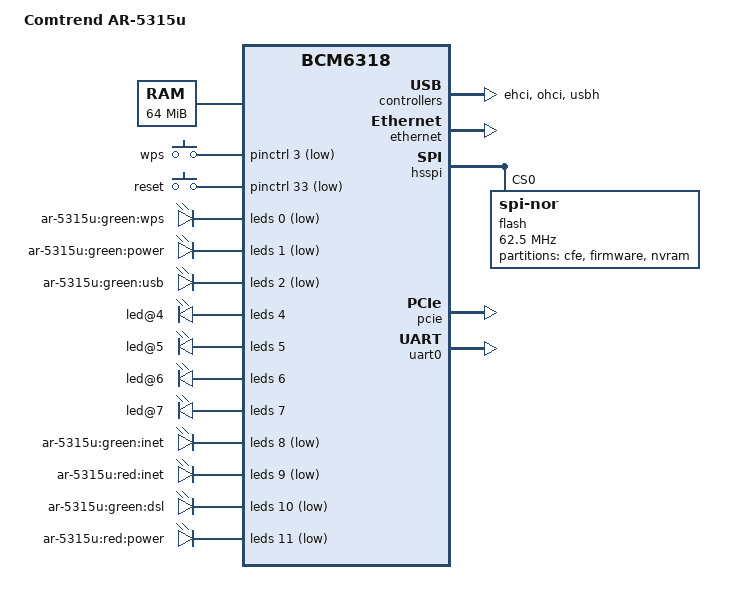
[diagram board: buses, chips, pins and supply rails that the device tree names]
// SPDX-License-Identifier: GPL-2.0-or-later

/dts-v1/;

#include "bcm6318.dtsi"

#include <dt-bindings/input/input.h>

/ {
	model = "Comtrend AR-5315u";
	compatible = "comtrend,ar-5315u", "brcm,bcm6318";

	aliases {
		led-boot = &led_power_green;
		led-failsafe = &led_power_green;
		led-running = &led_power_green;
		led-upgrade = &led_power_green;
	};

	chosen {
		bootargs = "console=ttyS0,115200 earlycon";
	};

	memory@0 {
		device_type = "memory";
		reg = <0x00000000 0x04000000>;
	};

	keys {
		compatible = "gpio-keys-polled";
		#address-cells = <1>;
		#size-cells = <0>;
		poll-interval = <20>;

		wps {
			label = "wps";
			gpios = <&pinctrl 3 1>;
			linux,code = <KEY_WPS_BUTTON>;
			debounce-interval = <60>;
		};

		reset {
			label = "reset";
			gpios = <&pinctrl 33 1>;
			linux,code = <KEY_RESTART>;
			debounce-interval = <60>;
		};
	};

	bcm43217-sprom {
		compatible = "brcm,bcm43217-sprom";

		pci-bus = <1>;
		pci-dev = <0>;

		mtd-mac-address = <&cfe 0x6a0>;
		mtd-mac-address-increment = <1>;

		brcm,sprom-fixups = <6 0x1c00>,
				    <65 0x1255>,
				    <97 0xfe55>,
				    <98 0x171d>,
				    <99 0xfa42>,
				    <113 0xfeb7>,
				    <114 0x18cd>,
				    <115 0xfa4f>,
				    <162 0x6444>,
				    <170 0x6444>,
				    <172 0x6444>;
	};
};

&ehci {
	status = "okay";
};

&ethernet {
	status = "okay";

	mtd-mac-address = <&cfe 0x6a0>;

	ports {
		#address-cells = <1>;
		#size-cells = <0>;

		port@0 {
			reg = <0>;
			label = "fe4";
			brcm,phy-id = <1>;
		};

		port@1 {
			reg = <1>;
			label = "fe3";
			brcm,phy-id = <2>;
		};

		port@2 {
			reg = <2>;
			label = "fe2";
			brcm,phy-id = <3>;
		};

		port@3 {
			reg = <3>;
			label = "fe1";
			brcm,phy-id = <4>;
		};
	};
};

&hsspi {
	status = "okay";

	flash@0 {
		compatible = "jedec,spi-nor";
		spi-max-frequency = <62500000>;
		spi-tx-bus-width = <2>;
		spi-rx-bus-width = <2>;
		reg = <0>;

		#address-cells = <1>;
		#size-cells = <1>;

		partitions {
			compatible = "fixed-partitions";
			#address-cells = <1>;
			#size-cells = <1>;

			cfe: partition@0 {
				reg = <0x000000 0x010000>;
				label = "cfe";
				read-only;
			};

			partition@10000 {
				compatible = "brcm,bcm963xx-imagetag";
				reg = <0x010000 0xfe0000>;
				label = "firmware";
			};

			partition@ff0000 {
				reg = <0xff0000 0x010000>;
				label = "nvram";
			};
		};
	};
};

&leds {
	status = "okay";

	pinctrl-names = "default";
	pinctrl-0 = <&pinctrl_leds
		     &pinctrl_ephy0_act_led &pinctrl_ephy1_act_led
		     &pinctrl_ephy2_act_led &pinctrl_ephy3_act_led>;

	led@0 {
		reg = <0>;
		active-low;
		label = "ar-5315u:green:wps";
	};

	led_power_green: led@1 {
		reg = <1>;
		active-low;
		label = "ar-5315u:green:power";
		default-state = "on";
	};

	led@2 {
		reg = <2>;
		active-low;
		label = "ar-5315u:green:usb";
	};

	led@4 {
		reg = <4>;
		brcm,hardware-controlled;
		brcm,link-signal-sources = <4>;
		/* EPHY0 Act */
	};

	led@5 {
		reg = <5>;
		brcm,hardware-controlled;
		brcm,link-signal-sources = <5>;
		/* EPHY1 Act */
	};

	led@6 {
		reg = <6>;
		brcm,hardware-controlled;
		brcm,link-signal-sources = <6>;
		/* EPHY2 Act */
	};

	led@7 {
		reg = <7>;
		brcm,hardware-controlled;
		brcm,link-signal-sources = <7>;
		/* EPHY3 Act */
	};

	led@8 {
		reg = <8>;
		active-low;
		label = "ar-5315u:green:inet";
	};

	led@9 {
		reg = <9>;
		active-low;
		label = "ar-5315u:red:inet";
	};

	led@10 {
		reg = <10>;
		active-low;
		label = "ar-5315u:green:dsl";
	};

	led@11 {
		reg = <11>;
		active-low;
		label = "ar-5315u:red:power";
	};
};

&ohci {
	status = "okay";
};

&pcie {
	status = "okay";
};

&pinctrl {
	pinctrl_leds: leds {
		function = "led";
		pins = "gpio0", "gpio1",
		       "gpio2", "gpio8",
		       "gpio9", "gpio10",
		       "gpio11";
	};
};

&uart0 {
	status = "okay";
};

&usbh {
	status = "okay";
};
